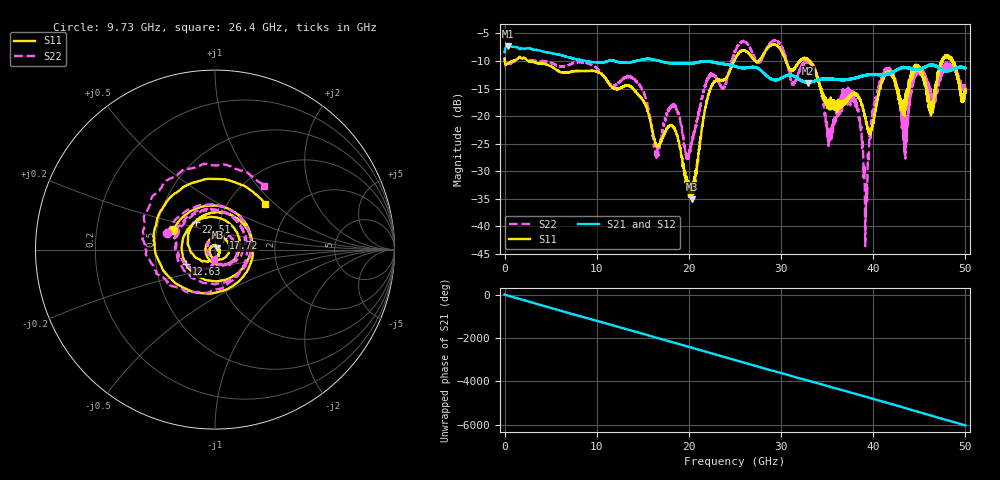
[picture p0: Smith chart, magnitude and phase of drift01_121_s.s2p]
!Created with skrf (http://scikit-rf.org).
# Hz S RI R 50.0
!freq ReS11 ImS11 ReS21 ImS21 ReS12 ImS12 ReS22 ImS22
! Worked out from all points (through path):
!   10001 points, 300 kHz to 50 GHz, reference 50 ohm
!   highest |S21| = -7.33 dB at 365.3 MHz (marker M1); lowest = -14.0 dB at 32.94 GHz (marker M2)
!   group delay of S21, straight-line fit = 335 ps
!   lowest |S11| = -35.1 dB at 20.33 GHz (marker M3), VSWR 1.04, Z = 51.4 + j1.11 ohm
!   |S11| at or under -10 dB: 2.553 GHz to 24.91 GHz (22.36 GHz wide, 163 % of centre); 30.53 GHz to 32.02 GHz (1.486 GHz wide, 4.75 % of centre); 33.08 GHz to 47.44 GHz (14.36 GHz wide, 35.7 % of centre) (the widest 3 of 24)
!   |S22| runs from -43.6 to -6.3 dB; largest |S21 - S12| = 0.011
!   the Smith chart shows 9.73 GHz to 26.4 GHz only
!   S11 on the Smith chart (normalised r, x): 9.73 GHz: 0.61, +0.14; 12.63 GHz: 0.72, -0.12; 17.72 GHz: 1.09, +0.14; 22.51 GHz: 0.77, +0.25; 26.4 GHz: 1.46, +0.87
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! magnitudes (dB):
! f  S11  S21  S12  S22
! 300 kHz  -9.5  -8.4  -8.5  -9.5
! 365.3 MHz  -10.4  -7.3  -7.3  -10.8
! 8.335 GHz  -11.8  -9.8  -9.9  -10.2
! 9.73 GHz  -11.8  -10.2  -10.2  -10.9
! 12.63 GHz  -14.9  -10.3  -10.3  -13.7
! 16.67 GHz  -25.6  -9.9  -9.9  -27.0
! 17.72 GHz  -22.1  -10.4  -10.4  -18.9
! 20.33 GHz  -35.1  -10.4  -10.4  -24.5
! 22.51 GHz  -14.4  -10.2  -10.2  -12.4
! 25 GHz  -9.6  -11.0  -11.0  -8.4
! 26.4 GHz  -8.5  -11.2  -11.2  -6.9
! 32.94 GHz  -9.9  -14.0  -13.8  -10.4
! 33.34 GHz  -10.7  -13.8  -13.8  -10.5
! 35.25 GHz  -17.1  -13.2  -13.3  -23.0
! 37.97 GHz  -15.8  -13.1  -13.1  -17.3
! 39.17 GHz  -20.5  -12.6  -12.6  -40.7
! 40.14 GHz  -19.8  -12.5  -12.5  -18.0
! 41.67 GHz  -12.0  -12.2  -12.3  -11.8
! 43.45 GHz  -17.9  -11.3  -11.3  -24.5
! 44.89 GHz  -11.3  -11.6  -11.5  -11.6
! 46.28 GHz  -18.8  -10.7  -10.6  -16.9
! 50 GHz  -15.7  -11.3  -11.3  -15.1
